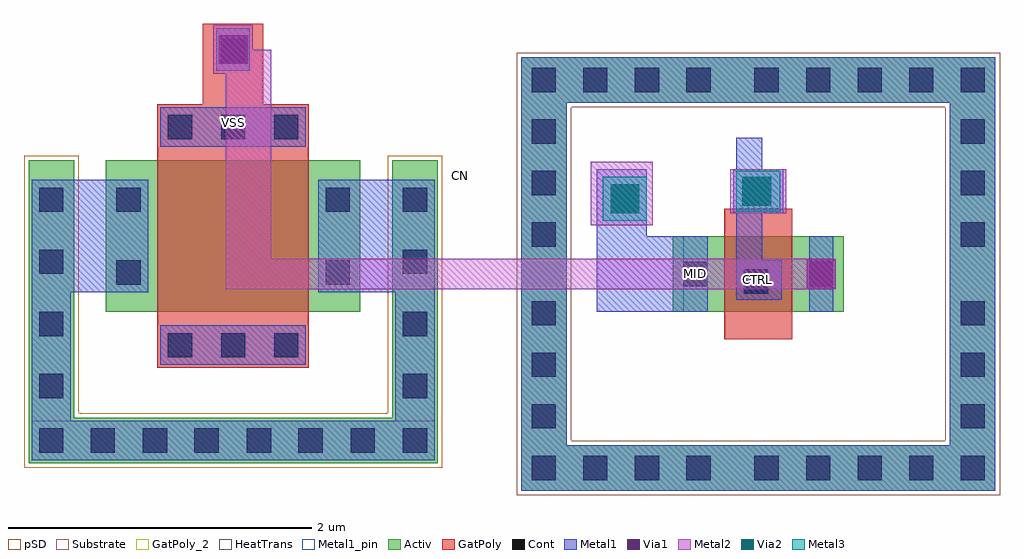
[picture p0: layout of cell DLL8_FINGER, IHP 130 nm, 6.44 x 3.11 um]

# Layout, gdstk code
import gdstk
lib = gdstk.Library(unit=1e-6, precision=1e-09)
def R(c, l, rs):  # rectangles x0, y0, x1, y1
    for r in rs: c.add(gdstk.rectangle(r[:2], r[2:], *l))
def A(c, l, x, y, w, h, nx, ny, dx, dy):  # array of equal rectangles
    R(c, l, [(x+i*dx, y+j*dy, x+i*dx+w, y+j*dy+h) for i in range(nx) for j in range(ny)])
def P(c, l, *ps):  # polygons
    for p in ps: c.add(gdstk.Polygon(p, *l))
Activ = (1, 0)
GatPoly = (5, 0)
GatPoly_2 = (5, 2)
Cont = (6, 0)
Metal1 = (8, 0)
Metal1_pin = (8, 2)
Metal2 = (10, 0)
pSD = (14, 0)
Via1 = (19, 0)
Via2 = (29, 0)
Metal3 = (30, 0)
Substrate = (40, 0)
HeatTrans = (51, 0)

moscap_n = lib.new_cell('moscap_n')
R(moscap_n, Activ, [(-0.85,-1,-0.55,1), (-0.85,-1,1.85,-0.7), (1.55,-1,1.85,1), (-0.34,0,1.34,1)])
R(moscap_n, GatPoly, [(0,-0.37,1,1.37)])
A(moscap_n, Cont, 0.93, -0.93, 0.16, 0.16, 3, 1, 0.345, 0)
A(moscap_n, Cont, -0.78, -0.57, 0.16, 0.16, 1, 4, 0, 0.41)
A(moscap_n, Cont, 1.62, -0.57, 0.16, 0.16, 1, 4, 0, 0.41)
A(moscap_n, Cont, 0.07, -0.3, 0.16, 0.16, 3, 2, 0.35, 1.44)
R(moscap_n, Cont, [(-0.78,-0.93,-0.62,-0.77), (-0.44,-0.93,-0.28,-0.77), (-0.095,-0.93,0.065,-0.77), (0.245,-0.93,0.405,-0.77), (0.59,-0.93,0.75,-0.77), (-0.27,0.18,-0.11,0.34), (1.11,0.18,1.27,0.34), (-0.27,0.66,-0.11,0.82), (1.11,0.66,1.27,0.82)])
R(moscap_n, Metal1, [(-0.83,-0.98,1.83,-0.72), (-0.83,-0.98,-0.57,0.87), (1.57,-0.98,1.83,0.87), (0.02,-0.35,0.98,-0.09), (-0.83,0.13,-0.06,0.87), (1.06,0.13,1.83,0.87), (0.02,1.09,0.98,1.35)])
R(moscap_n, Metal1_pin, [(-0.83,-0.98,1.83,-0.72), (0.02,1.09,0.98,1.35)])
R(moscap_n, pSD, [(-0.88,-1.03,-0.52,1.03), (-0.88,-1.03,1.88,-0.67), (1.52,-1.03,1.88,1.03)])
moscap_n.add(gdstk.Label('moscap_n', (0.5,0.5), layer=63, texttype=0))

nmos = lib.new_cell('nmos')
R(nmos, Activ, [(0,0,0.3,0.3), (0,0,1.13,0.5), (0.83,0,1.13,0.3)])
P(nmos, Activ, [(-1,-1.18),(-1,1.38),(-0.7,1.38),(-0.7,-0.88),(1.83,-0.88),(1.83,1.38),(-1,1.38),(-1,1.68),(2.13,1.68),(2.13,-1.18)])
R(nmos, GatPoly, [(0.34,-0.18,0.79,0.68)])
R(nmos, GatPoly_2, [(0.34,-0.18,0.79,0.68)])
A(nmos, Cont, -0.93, -1.11, 0.16, 0.16, 4, 2, 0.34, 2.56)
A(nmos, Cont, 0.54, -1.11, 0.16, 0.16, 5, 2, 0.34, 2.56)
A(nmos, Cont, -0.93, -0.77, 0.16, 0.16, 1, 3, 0, 0.34)
A(nmos, Cont, 1.9, -0.77, 0.16, 0.16, 1, 3, 0, 0.34)
A(nmos, Cont, -0.93, 0.43, 0.16, 0.16, 1, 3, 0, 0.34)
A(nmos, Cont, 1.9, 0.43, 0.16, 0.16, 1, 3, 0, 0.34)
R(nmos, Cont, [(0.07,0.17,0.23,0.33), (0.9,0.17,1.06,0.33)])
R(nmos, Metal1, [(-1,-1.18,2.13,-0.88), (-1,-0.88,-0.7,1.38), (1.83,-0.88,2.13,1.38), (0.07,0,0.23,0.5), (0.9,0,1.06,0.5), (-1,1.38,2.13,1.68)])
R(nmos, Metal1_pin, [(0.07,0,0.23,0.5), (0.9,0,1.06,0.5)])
P(nmos, pSD, [(-1.03,-1.21),(-1.03,1.35),(-0.67,1.35),(-0.67,-0.85),(1.8,-0.85),(1.8,1.35),(-1.03,1.35),(-1.03,1.71),(2.16,1.71),(2.16,-1.21)])
P(nmos, Substrate, [(-1.03,-1.21),(-1.03,1.35),(-0.67,1.35),(-0.67,-0.85),(1.8,-0.85),(1.8,1.35),(-1.03,1.35),(-1.03,1.71),(2.16,1.71),(2.16,-1.21)])
R(nmos, HeatTrans, [(0.34,-0.18,0.79,0.68)])
nmos.add(gdstk.Label('nmos', (0.565,0.25), layer=63, texttype=0))
nmos.add(gdstk.Label('sub!', (0.565,-1.03), layer=63, texttype=0))
nmos.add(gdstk.Label('nmos', (0.565,0.25), layer=51, texttype=0))
nmos.add(gdstk.Label('sub!', (0.565,-1.03), layer=40, texttype=0))

dll8_finger = lib.new_cell('DLL8_FINGER')
R(dll8_finger, GatPoly, [(0.3,1.35,0.7,1.9)])
R(dll8_finger, Cont, [(3.87,0.12,4.03,0.28), (0.42,1.64,0.58,1.8)])
R(dll8_finger, Metal1, [(2.9,0,3.63,0.5), (3.82,0.08,4.12,0.34), (3.82,0.34,3.99,1.15), (2.9,0.45,3.23,0.94), (3.8,0.65,4.13,0.94), (0.39,1.59,0.61,1.87)])
R(dll8_finger, Metal2, [(0.45,0.15,0.75,1.73), (0.5,0.15,4.475,0.35), (2.86,0.57,3.27,0.99), (3.78,0.65,4.15,0.94), (0.37,1.57,0.63,1.89)])
R(dll8_finger, Via1, [(4.285,0.155,4.475,0.345), (2.99,0.65,3.18,0.84), (3.86,0.7,4.05,0.89), (0.405,1.635,0.595,1.825)])
R(dll8_finger, Via2, [(2.99,0.65,3.18,0.84), (3.86,0.7,4.05,0.89)])
R(dll8_finger, Metal3, [(2.94,0.6,3.23,0.89), (3.82,0.66,4.11,0.93)])
dll8_finger.add(gdstk.Reference(moscap_n, (0,0)))
dll8_finger.add(gdstk.Reference(nmos, (3.4,0)))
dll8_finger.add(gdstk.Label('CTRL', (3.96,0.21), layer=8, texttype=2))
dll8_finger.add(gdstk.Label('MID', (3.55,0.25), layer=8, texttype=2))
dll8_finger.add(gdstk.Label('VSS', (0.5,1.25), layer=8, texttype=2))
dll8_finger.add(gdstk.Label('CN', (2,0.9), layer=10, texttype=2))

lib.write_gds('DLL8_FINGER.gds')
